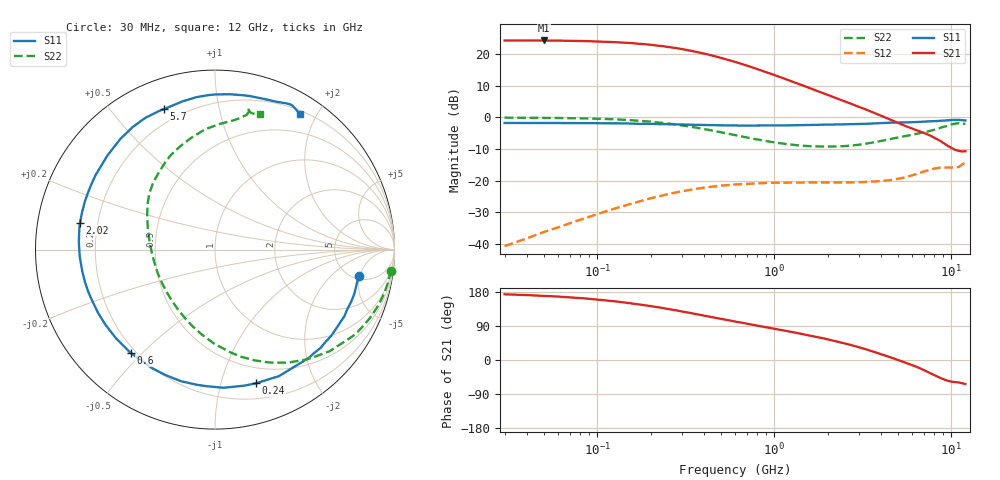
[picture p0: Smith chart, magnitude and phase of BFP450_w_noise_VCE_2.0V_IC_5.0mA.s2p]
! (c) 2015  Infineon Technologies AG, Munich
! Infineon Technologies  Discrete & RF Semiconductors
! BFP450
! VCE =  2.0 V,  IC =  5.0 mA
! Common Emitter S-Parameters:  Nov 2015
# GHz  S  MA  R  50
!  f  S11  S21  S12  S22
! GHz  MAG  ANG  MAG  ANG  MAG  ANG  MAG  ANG
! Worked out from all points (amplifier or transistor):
!   239 points, 30 MHz to 12 GHz, reference 50 ohm
!   highest |S21| = 24.3 dB at 50 MHz (marker M1)
!   |S21| within 3 dB of that: start of sweep to 320.3 MHz
!   unconditionally stable (mu >= 1): 2.444 GHz to end of sweep
!   at 300 MHz: K = 0.09, MSG = 22.5 dB, |S12| = -23.4 dB
!   at 1.88 GHz: K = 0.75, MSG = 14.1 dB, |S12| = -20.6 dB
!   at 12 GHz: K = 1.17, MAG = -0.8 dB, |S12| = -14.2 dB
!   lowest NFmin = 1.02 dB at 450 MHz
!   S11 on the Smith chart (normalised r, x): 30 MHz: 5.55, -4.79; 240 MHz: 0.34, -1.30; 600 MHz: 0.18, -0.46; 2.02 GHz: 0.13, +0.10; 5.7 GHz: 0.14, +0.69; 12 GHz: 0.25, +1.78
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0.03  0.8142 -10.3  16.36 173.4  0.0092 84.7  0.9861 -6.8
0.05  0.8144 -17.2  16.37 169.1  0.0154 80.6  0.9802 -11.2
0.06  0.8129 -20.6  16.29 167.4  0.0182 79.2  0.9758 -13.4
0.085  0.8087 -28.8  16.01 162.6  0.0254 74.9  0.9607 -18.9
0.115  0.8039 -38.3  15.56 156.8  0.0335 70.0  0.9375 -25.2
0.15  0.7984 -49.2  14.99 150.4  0.0421 64.6  0.9061 -32.2
0.2  0.7898 -63.2  14.01 142.0  0.0525 57.5  0.8539 -41.5
0.24  0.7789 -72.9  13.17 136.3  0.0593 52.4  0.8097 -48.1
0.3  0.7713 -86.5  11.99 128.1  0.0678 45.9  0.7471 -57.5
0.38  0.7572 -101.0  10.51 119.3  0.0756 38.8  0.6709 -67.9
0.5  0.7477 -118.3  8.687 108.4  0.0832 30.8  0.58 -81.3
0.6  0.7429 -129.3  7.493 101.4  0.0869 25.9  0.5234 -90.6
0.8  0.74 -145.4  5.784 90.6  0.0907 19.1  0.4463 -106.0
1  0.7412 -157.0  4.647 82.3  0.0923 14.6  0.401 -118.5
1.3  0.749 -170.0  3.562 72.5  0.0931 10.4  0.3652 -134.0
1.64  0.7575 178.8  2.796 63.3  0.0934 7.5  0.3486 -148.2
2.02  0.7669 168.7  2.243 54.3  0.0935 5.4  0.3442 -161.3
3  0.7845 147.9  1.467 33.8  0.0944 3.4  0.3686 172.3
4.5  0.8227 123.8  0.921 7.3  0.1014 3.0  0.4529 146.0
5.7  0.8328 110.1  0.7 -9.5  0.1161 1.9  0.5144 130.5
8  0.8695 84.6  0.478 -39.9  0.1548 -12.3  0.6361 102.1
12  0.8899 58.0  0.291 -63.3  0.1943 -36.0  0.794 71.7
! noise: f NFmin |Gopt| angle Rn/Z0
0.45  1.02  0.17  79  -0.42
0.9  1.04  0.32  121  0.06
1.9  1.3  0.52  173  0.06
2.4  1.54  0.55  -171  0.06
